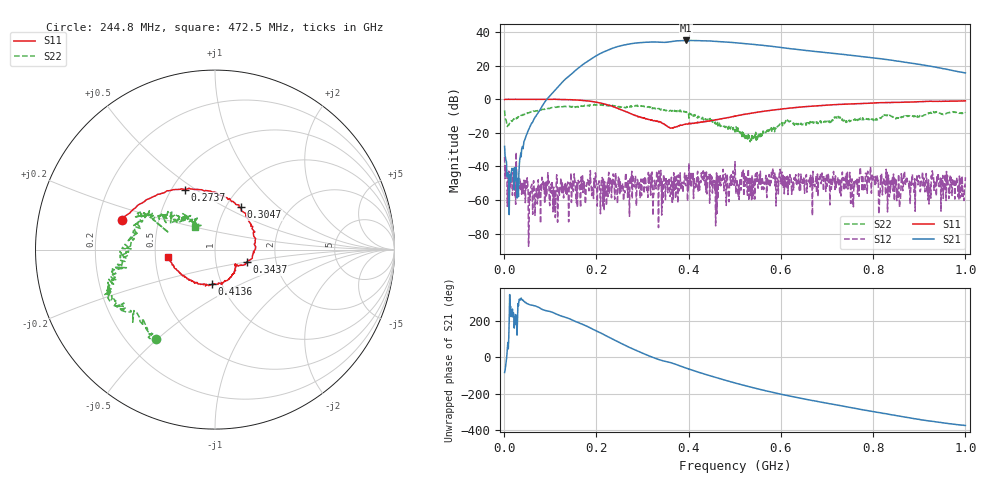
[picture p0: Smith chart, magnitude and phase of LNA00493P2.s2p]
! Created with skrf 1.9.0 (http://scikit-rf.org).
# Hz S RI R 50.0
!freq ReS11 ImS11 ReS21 ImS21 ReS12 ImS12 ReS22 ImS22
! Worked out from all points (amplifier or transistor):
!   1001 points, 1 MHz to 1 GHz, reference 50 ohm
!   highest |S21| = 35.1 dB at 394.6 MHz (marker M1)
!   |S21| within 3 dB of that: 255.5 MHz to 563.1 MHz (307.6 MHz wide, 75.1 % of centre)
!   unconditionally stable (mu >= 1): 276.7 MHz to 312.6 MHz; 312.8 MHz to 500.4 MHz; 500.6 MHz to end of sweep (the widest 3 of 44)
!   at 166.8 MHz: K = 0.46, MSG = 33.1 dB, |S12| = -46.2 dB
!   at 500.5 MHz: K = 0.96, MSG = 35.4 dB, |S12| = -37.1 dB
!   at 1 GHz: K = 2.76, MAG = 23.8 dB, |S12| = -46.4 dB
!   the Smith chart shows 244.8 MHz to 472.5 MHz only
!   S11 on the Smith chart (normalised r, x): 244.8 MHz: 0.30, +0.14; 273.7 MHz: 0.58, +0.45; 304.7 MHz: 1.18, +0.60; 343.7 MHz: 1.41, -0.21; 413.6 MHz: 0.90, -0.36; 472.5 MHz: 0.58, -0.05
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1000000  0.9831 0.0076  0.00422 -0.0394  0.00237 0.019  0.3778 0.2755
1.08892e8  0.5271 -0.8466  -0.8438 -1.568  0.000487 -0.000117  0.4294 -0.384
1.67833e8  -0.2231 -0.9062  -10.22 -0.5248  0.00204 0.000472  0.048 -0.6264
2.09791e8  -0.6653 -0.3917  -15.8 17.47  -0.00213 0.000271  -0.2087 -0.6678
2.26774e8  -0.6539 -0.1035  -10.23 28.1  0.00169 -0.00648  -0.2593 -0.5981
2.44756e8  -0.5205 0.1644  1.789 36.85  0.00146 0.000432  -0.326 -0.499
2.73727e8  -0.1671 0.3344  28.34 35.02  -0.000579 -0.00341  -0.5504 -0.3155
3.04696e8  0.1455 0.2356  47.9 14.36  -0.00283 0.00409  -0.5915 -0.1652
3.34666e8  0.2134 -0.0148  49.33 -10.83  0.000141 -5.42e-05  -0.5278 -0.0451
3.43657e8  0.1771 -0.0699  47.08 -16.49  0.000533 0.000612  -0.518 0.00643
3.7063e8  0.1142 -0.0936  43.1 -33.46  -0.000868 0.00378  -0.4249 0.156
3.94606e8  0.0677 -0.1716  28.43 -49.02  0.00251 0.00339  -0.36 0.1959
4.13587e8  -0.0153 -0.1925  13.53 -54.57  -0.00086 0.00213  -0.2901 0.1958
4.41559e8  -0.1556 -0.1626  -8.223 -54.25  0.00193 0.00458  -0.1705 0.1554
4.72528e8  -0.2618 -0.0391  -26.89 -44.12  0.00375 0.000452  -0.1118 0.1243
5.005e8  -0.3023 0.1151  -38.31 -30.29  0.0117 0.00763  -0.0573 0.0891
5.4046e8  -0.2332 0.3199  -42.16 -8.996  0.00331 0.000886  -0.0775 -0.00548
5.85415e8  -0.0606 0.4808  -35.83 9.791  0.00405 -0.00136  -0.1192 -0.0635
6.67333e8  0.325 0.5359  -14.44 22.93  0.000667 -0.00467  -0.2088 -0.0465
7.55245e8  0.6363 0.3687  2.907 19.95  0.00072 -0.000278  -0.2408 0.00856
8.34166e8  0.79 0.1432  10.33 10.87  -0.0016 -0.00084  -0.3269 -0.027
1e9  0.8155 -0.3847  5.897 -1.589  0.00376 0.00297  -0.3385 0.2106
